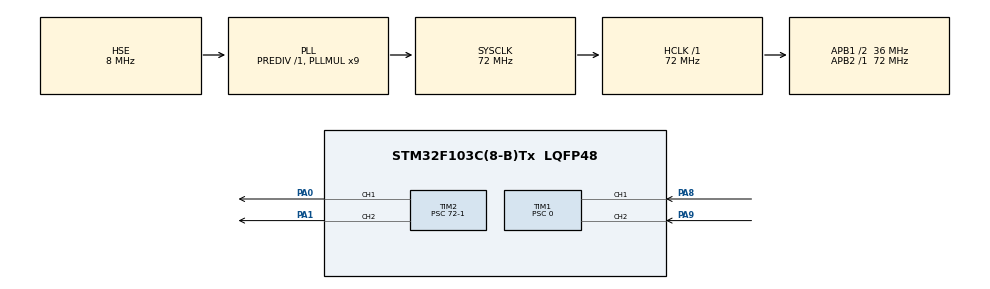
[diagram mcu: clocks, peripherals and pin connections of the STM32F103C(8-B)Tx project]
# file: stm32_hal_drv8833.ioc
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Mcu.Family=STM32F1
Mcu.Name=STM32F103C(8-B)Tx
Mcu.Package=LQFP48
NVIC.PriorityGroup=NVIC_PRIORITYGROUP_4
PA0-WKUP.Signal=S_TIM2_CH1_ETR
PA1.Signal=S_TIM2_CH2
PA13.Mode=Serial_Wire
PA13.Signal=SYS_JTMS-SWDIO
PA14.Mode=Serial_Wire
PA14.Signal=SYS_JTCK-SWCLK
PA8.Signal=S_TIM1_CH1
PA9.Signal=S_TIM1_CH2
PD0-OSC_IN.Mode=HSE-External-Oscillator
PD0-OSC_IN.Signal=RCC_OSC_IN
PD1-OSC_OUT.Mode=HSE-External-Oscillator
PD1-OSC_OUT.Signal=RCC_OSC_OUT
ProjectManager.HeapSize=0x200
ProjectManager.StackSize=0x400
ProjectManager.TargetToolchain=STM32CubeIDE
RCC.AHBFreq_Value=72000000
RCC.APB1CLKDivider=RCC_HCLK_DIV2
RCC.APB1Freq_Value=36000000
RCC.APB1TimFreq_Value=72000000
RCC.APB2Freq_Value=72000000
RCC.APB2TimFreq_Value=72000000
RCC.HCLKFreq_Value=72000000
RCC.PLLMUL=RCC_PLL_MUL9
RCC.PLLSourceVirtual=RCC_PLLSOURCE_HSE
RCC.SYSCLKFreq_VALUE=72000000
RCC.SYSCLKSource=RCC_SYSCLKSOURCE_PLLCLK
RCC.USBFreq_Value=72000000
SH.S_TIM1_CH1.0=TIM1_CH1,Encoder_Interface
SH.S_TIM1_CH2.0=TIM1_CH2,Encoder_Interface
SH.S_TIM2_CH1_ETR.0=TIM2_CH1,PWM Generation1 CH1
SH.S_TIM2_CH2.0=TIM2_CH2,PWM Generation2 CH2
TIM1.IC1Polarity=TIM_ICPOLARITY_FALLING
TIM1.Prescaler=0
TIM2.Channel-PWM\ Generation1\ CH1=TIM_CHANNEL_1
TIM2.Channel-PWM\ Generation2\ CH2=TIM_CHANNEL_2
TIM2.Period=100-1
TIM2.Prescaler=72-1
VP_TIM2_VS_ClockSourceINT.Mode=Internal
board=custom

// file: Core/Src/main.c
/* USER CODE BEGIN Header */
/**
  ******************************************************************************
  * @file           : main.c
  * @brief          : Main program body
  ******************************************************************************
  * @attention
  *
  * Copyright (c) 2024 STMicroelectronics.
  * All rights reserved.
  *
  * This software is licensed under terms that can be found in the LICENSE file
  * in the root directory of this software component.
  * If no LICENSE file comes with this software, it is provided AS-IS.
  *
  ******************************************************************************
  */
/* USER CODE END Header */
#include "main.h"
#include "tim.h"
#include "gpio.h"

/* USER CODE BEGIN Includes */
#include "drv8833.h"
/* USER CODE END Includes */

/* USER CODE BEGIN PD */
#define COUNT_MID 20
/* USER CODE END PD */

void SystemClock_Config(void);

int main(void)
{

  /* MCU Configuration--------------------------------------------------------*/

  /* Reset of all peripherals, Initializes the Flash interface and the Systick. */
  HAL_Init();

  /* Configure the system clock */
  SystemClock_Config();

  /* Initialize all configured peripherals */
  MX_GPIO_Init();
  MX_TIM1_Init();
  MX_TIM2_Init();
  /* USER CODE BEGIN 2 */
  DRV8833_Init();
  HAL_TIM_Encoder_Start(&htim1, TIM_CHANNEL_ALL);
  __HAL_TIM_SET_COUNTER(&htim1, COUNT_MID);
  int count = 0;
  int speed = 0;
  /* USER CODE END 2 */

  /* Infinite loop */
  /* USER CODE BEGIN WHILE */
  while (1)
  {
	  count = __HAL_TIM_GET_COUNTER(&htim1);
	  if (count > 60000){
		  count = 0;
		  __HAL_TIM_SET_COUNTER(&htim1, 0);
	  }else if (count > COUNT_MID * 2){
		  count = COUNT_MID * 2;
		  __HAL_TIM_SET_COUNTER(&htim1, COUNT_MID * 2);
	  }

	  if (count < COUNT_MID){
		  speed = (COUNT_MID - count) * 100 / COUNT_MID;
		  DRV8833_Backward(speed);
	  }else{
		  speed = (count - COUNT_MID) * 100 / COUNT_MID;
		  DRV8833_Forward(speed);
	  }

	  HAL_Delay(500);
    /* USER CODE END WHILE */

  }
}

void SystemClock_Config(void)
{
  RCC_OscInitTypeDef RCC_OscInitStruct = {0};
  RCC_ClkInitTypeDef RCC_ClkInitStruct = {0};

  /** Initializes the RCC Oscillators according to the specified parameters
  * in the RCC_OscInitTypeDef structure.
  */
  RCC_OscInitStruct.OscillatorType = RCC_OSCILLATORTYPE_HSE;
  RCC_OscInitStruct.HSEState = RCC_HSE_ON;
  RCC_OscInitStruct.HSEPredivValue = RCC_HSE_PREDIV_DIV1;
  RCC_OscInitStruct.HSIState = RCC_HSI_ON;
  RCC_OscInitStruct.PLL.PLLState = RCC_PLL_ON;
  RCC_OscInitStruct.PLL.PLLSource = RCC_PLLSOURCE_HSE;
  RCC_OscInitStruct.PLL.PLLMUL = RCC_PLL_MUL9;
  if (HAL_RCC_OscConfig(&RCC_OscInitStruct) != HAL_OK)
  {
    Error_Handler();
  }

  /** Initializes the CPU, AHB and APB buses clocks
  */
  RCC_ClkInitStruct.ClockType = RCC_CLOCKTYPE_HCLK|RCC_CLOCKTYPE_SYSCLK
                              |RCC_CLOCKTYPE_PCLK1|RCC_CLOCKTYPE_PCLK2;
  RCC_ClkInitStruct.SYSCLKSource = RCC_SYSCLKSOURCE_PLLCLK;
  RCC_ClkInitStruct.AHBCLKDivider = RCC_SYSCLK_DIV1;
  RCC_ClkInitStruct.APB1CLKDivider = RCC_HCLK_DIV2;
  RCC_ClkInitStruct.APB2CLKDivider = RCC_HCLK_DIV1;

  if (HAL_RCC_ClockConfig(&RCC_ClkInitStruct, FLASH_LATENCY_2) != HAL_OK)
  {
    Error_Handler();
  }
}

void Error_Handler(void)
{
  __disable_irq();
  while (1)
  {
  }
}
